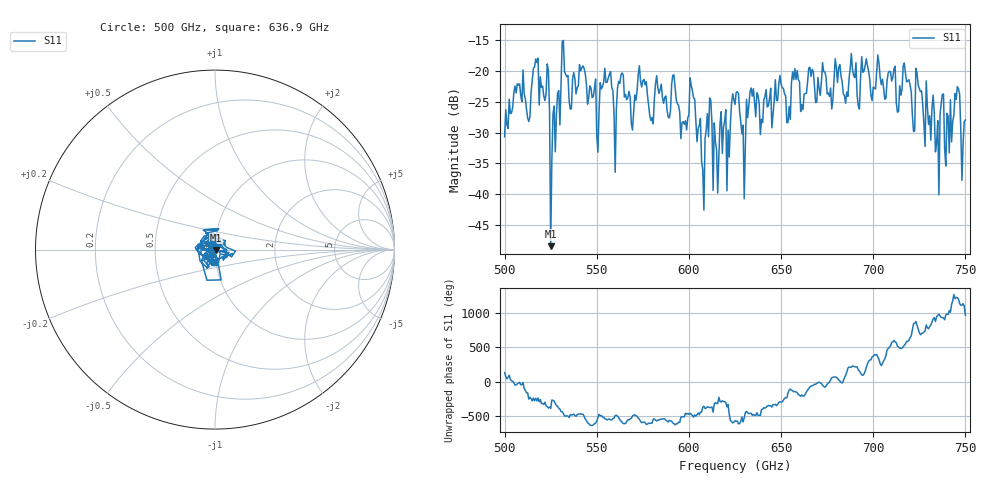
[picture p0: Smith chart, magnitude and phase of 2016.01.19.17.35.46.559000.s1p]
!Created with skrf (http://scikit-rf.org).
# GHz S RI R 50.0
!freq ReS11 ImS11
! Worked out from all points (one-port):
!   401 points, 500 GHz to 750 GHz, reference 50 ohm
!   lowest |S11| = -48.4 dB at 525 GHz (marker M1), VSWR 1.01, Z = 50.3 - j0.189 ohm
!   |S11| at or under -10 dB: start of sweep to end of sweep
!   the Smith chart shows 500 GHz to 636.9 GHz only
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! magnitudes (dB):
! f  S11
! 500 GHz  -30.7
! 506.9 GHz  -22.1
! 513.1 GHz  -28.2
! 516.9 GHz  -18.1
! 523.1 GHz  -18.9
! 525 GHz  -48.4
! 526.2 GHz  -27.0
! 531.2 GHz  -15.3
! 551.2 GHz  -26.6
! 555.6 GHz  -21.8
! 560.6 GHz  -26.2
! 562.5 GHz  -22.0
! 593.8 GHz  -25.3
! 596.9 GHz  -28.2
! 601.9 GHz  -23.2
! 608.1 GHz  -42.6
! 610.6 GHz  -30.7
! 614.4 GHz  -31.5
! 625 GHz  -25.4
! 629.4 GHz  -28.8
! 633.8 GHz  -22.8
! 653.8 GHz  -28.4
! 656.2 GHz  -20.2
! 687.5 GHz  -19.6
! 718.8 GHz  -21.6
! 734.4 GHz  -31.7
! 745.6 GHz  -22.6
! 750 GHz  -27.9
